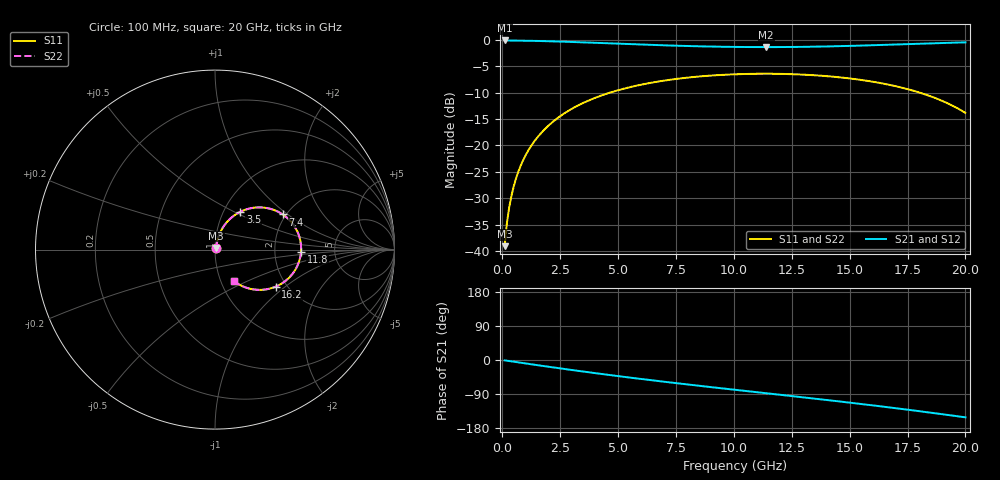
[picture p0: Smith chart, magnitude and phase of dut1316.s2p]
! Touchstone file exported from HFSS 2026.1.0
!  File:  C:/ffzhzh/LocalFiles/Ansys_Project_Files/temp_train_TSV_RDL_1316_1783335932_30076.aedt
!  Generated:  07:14:58 PM Jul  6, 2026
!  Design:  TSV_RDL
!  Project:  temp_train_TSV_RDL_1316_1783335932_30076
! Variables:
!  h_bsmrdl = 5.27um
!  h_ox = 20um
!  h_rdl = 5um
!  h_sub = 64.06um
!  h_tmrdl = 5.51um
!  h_tsv = 64.06um
!  h_via = 3um
!  l_bsmrdl = 333.78um
!  l_sub = 2724.73um
!  l_tmrdl = 289.83um
!  m_sub = 200um
!  pitch = 55.85um
!  r_tsv = 8.62um
!  s_tmrdl = 10um
!  w_bsmrdl = 28.11um
!  w_sub = 500um
!  w_tmrdl = 26.58um
!  x_tsv_center1 = 303.12um
!  x_tsv_center2 = 665.01um
!  x_tsv_center3 = 981.42um
!  x_tsv_center4 = 1343.31um
!  x_tsv_center5 = 1659.72um
!  x_tsv_center6 = 2021.61um
# GHz S MA R 50.000000
! Terminal data exported
! Port[1] = TM_RDL1_1_T1
! Port[2] = TM_RDL5_1_T1
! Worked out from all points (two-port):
!   200 points, 100 MHz to 20 GHz, reference 50 ohm
!   highest |S21| = -0.06 dB at 100 MHz (marker M1); lowest = -1.3 dB at 11.4 GHz (marker M2)
!   |S21| within 3 dB of the highest: start of sweep to end of sweep
!   lowest |S11| = -39.1 dB at 100 MHz (marker M3), VSWR 1.02, Z = 50.7 + j0.866 ohm
!   |S11| at or under -10 dB: start of sweep to 4.628 GHz; 18.05 GHz to end of sweep
!   |S22| runs from -39.1 to -6.4 dB; largest |S21 - S12| = 1.1e-13
!   S11 on the Smith chart (normalised r, x): 100 MHz: 1.01, +0.02; 3.5 GHz: 1.20, +0.54; 7.4 GHz: 1.92, +0.92; 11.8 GHz: 2.84, -0.11; 16.2 GHz: 1.75, -0.86; 20 GHz: 1.15, -0.42
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0.1  0.01108 50.4  0.993 -0.9  0.993 -0.9  0.01108 50.4
! Gamma 0 0 0 0
! Port Impedance 50 0 50 0
0.2  0.01837 64.4  0.9925 -1.9  0.9925 -1.9  0.01837 64.4
0.3  0.02596 69.9  0.9919 -2.8  0.9919 -2.8  0.02596 69.9
0.4  0.03365 72.7  0.9914 -3.7  0.9914 -3.7  0.03365 72.7
0.5  0.04141 74.1  0.9909 -4.6  0.9909 -4.6  0.04141 74.1
0.7  0.05699 75.0  0.9898 -6.4  0.9898 -6.4  0.05699 75.0
1  0.08027 74.4  0.9877 -9.0  0.9877 -9.0  0.08027 74.4
1.4  0.1108 72.2  0.9839 -12.6  0.9839 -12.6  0.1108 72.2
2  0.1548 67.9  0.9765 -17.9  0.9765 -17.9  0.1548 67.9
2.7  0.2031 62.5  0.9661 -23.9  0.9661 -23.9  0.2031 62.5
3.5  0.2537 56.2  0.9526 -30.5  0.9526 -30.5  0.2537 56.2
5  0.3345 44.7  0.9255 -42.5  0.9255 -42.5  0.3345 44.7
6.8  0.4069 31.6  0.8954 -56.0  0.8954 -56.0  0.4069 31.6
7.4  0.4252 27.4  0.8868 -60.3  0.8868 -60.3  0.4252 27.5
10.1  0.4745 9.3  0.8618 -79.0  0.8618 -79.0  0.4745 9.3
11.4  0.4799 0.8  0.8588 -87.7  0.8588 -87.7  0.4799 0.8
11.8  0.4792 -1.8  0.8591 -90.4  0.8591 -90.4  0.4792 -1.8
13.4  0.4653 -12.3  0.8661 -101.3  0.8661 -101.3  0.4653 -12.3
16.2  0.396 -31.5  0.8972 -121.2  0.8972 -121.2  0.396 -31.5
16.7  0.3773 -35.0  0.9046 -125.0  0.9046 -125.0  0.3772 -35.0
18.5  0.293 -48.2  0.9323 -139.0  0.9323 -139.0  0.293 -48.1
20  0.2039 -59.1  0.9529 -151.3  0.9529 -151.3  0.2039 -59.0
